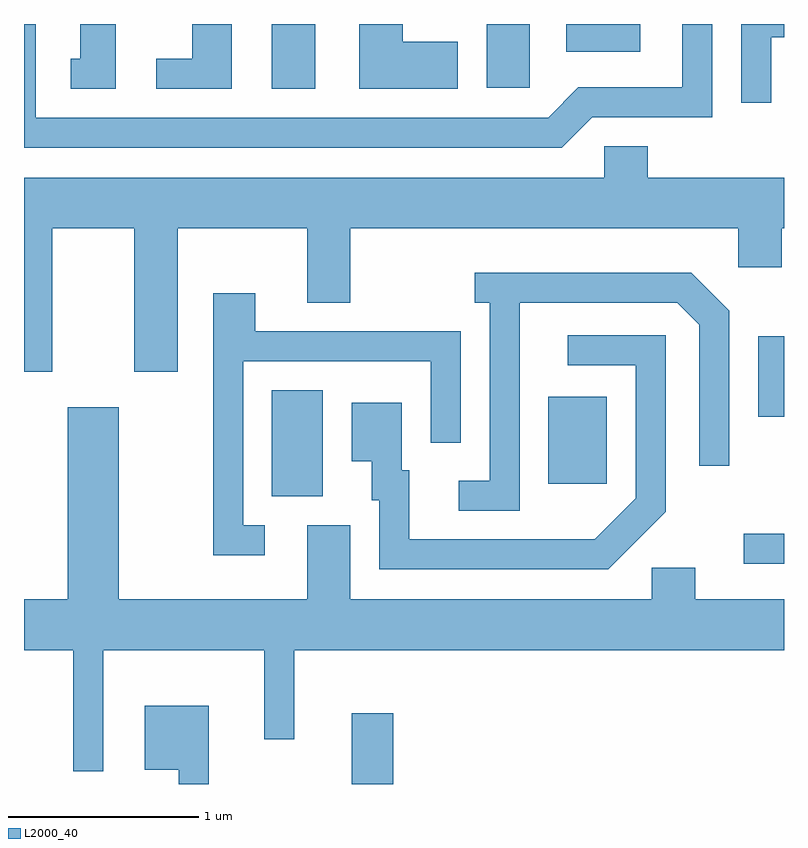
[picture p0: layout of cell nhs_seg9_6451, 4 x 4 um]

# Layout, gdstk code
import gdstk
lib = gdstk.Library(unit=1e-6, precision=1e-09)
def R(c, l, rs):  # rectangles x0, y0, x1, y1
    for r in rs: c.add(gdstk.rectangle(r[:2], r[2:], *l))
def P(c, l, *ps):  # polygons
    for p in ps: c.add(gdstk.Polygon(p, *l))
L2000_40 = (2000, 40)

nhs_seg9_6451 = lib.new_cell('nhs_seg9_6451')
R(nhs_seg9_6451, L2000_40, [(377.336,2004.432,377.554,2004.804), (379.398,2005.591,379.611,2005.749), (376.916,2005.946,377.184,2006.504), (378.371,2006.011,378.679,2006.469), (379.476,2006.366,379.611,2006.789), (376.916,2008.091,377.144,2008.432), (378.046,2008.096,378.274,2008.432), (378.466,2008.286,378.854,2008.432)])
P(nhs_seg9_6451, L2000_40, [(377.894,2008.339),(377.604,2008.339),(377.604,2008.432),(377.376,2008.432),(377.376,2008.091),(377.894,2008.091)],
  [(376.094,2008.432),(375.906,2008.432),(375.906,2008.249),(375.858,2008.249),(375.858,2008.091),(376.094,2008.091)],
  [(378.602,2007.941),(379.234,2007.941),(379.234,2008.432),(379.076,2008.432),(379.076,2008.099),(378.529,2008.099),(378.369,2007.939),(375.674,2007.939),(375.674,2008.432),(375.611,2008.432),(375.611,2007.781),(378.442,2007.781)],
  [(376.704,2008.432),(376.496,2008.432),(376.496,2008.249),(376.308,2008.249),(376.308,2008.091),(376.704,2008.091)],
  [(379.544,2008.361),(379.611,2008.361),(379.611,2008.432),(379.386,2008.432),(379.386,2008.018),(379.544,2008.018)],
  [(375.759,2007.356),(376.191,2007.356),(376.191,2006.601),(376.419,2006.601),(376.419,2007.356),(377.101,2007.356),(377.101,2006.966),(377.329,2006.966),(377.329,2007.356),(379.371,2007.356),(379.371,2007.151),(379.599,2007.151),(379.599,2007.356),(379.611,2007.356),(379.611,2007.624),(378.894,2007.624),(378.894,2007.789),(378.666,2007.789),(378.666,2007.624),(375.611,2007.624),(375.611,2006.601),(375.759,2006.601)],
  [(378.219,2006.966),(379.049,2006.966),(379.166,2006.849),(379.166,2006.108),(379.324,2006.108),(379.324,2006.922),(379.122,2007.124),(377.983,2007.124),(377.983,2006.966),(378.061,2006.966),(378.061,2006.029),(377.898,2006.029),(377.898,2005.871),(378.219,2005.871)],
  [(376.878,2005.794),(376.764,2005.794),(376.764,2006.656),(377.751,2006.656),(377.751,2006.228),(377.909,2006.228),(377.909,2006.814),(376.829,2006.814),(376.829,2007.014),(376.606,2007.014),(376.606,2005.636),(376.878,2005.636)],
  [(378.989,2005.864),(378.989,2006.794),(378.473,2006.794),(378.473,2006.636),(378.831,2006.636),(378.831,2005.937),(378.614,2005.719),(377.639,2005.719),(377.639,2006.084),(377.599,2006.084),(377.599,2006.439),(377.336,2006.439),(377.336,2006.131),(377.441,2006.131),(377.441,2005.926),(377.481,2005.926),(377.481,2005.561),(378.687,2005.561)],
  [(376.029,2005.136),(376.876,2005.136),(376.876,2004.668),(377.034,2004.668),(377.034,2005.136),(379.611,2005.136),(379.611,2005.404),(379.144,2005.404),(379.144,2005.569),(378.916,2005.569),(378.916,2005.404),(377.329,2005.404),(377.329,2005.794),(377.101,2005.794),(377.101,2005.404),(376.109,2005.404),(376.109,2006.414),(375.841,2006.414),(375.841,2005.404),(375.611,2005.404),(375.611,2005.136),(375.871,2005.136),(375.871,2004.498),(376.029,2004.498)],
  [(376.584,2004.844),(376.246,2004.844),(376.246,2004.506),(376.426,2004.506),(376.426,2004.432),(376.584,2004.432)])

lib.write_gds('nhs_seg9_6451.gds')
